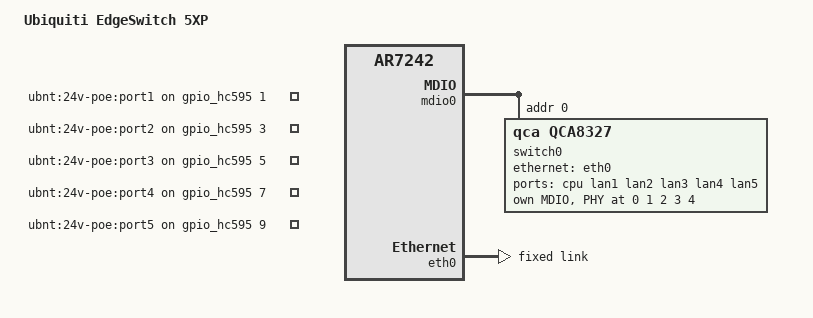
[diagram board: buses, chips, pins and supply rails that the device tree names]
// SPDX-License-Identifier: GPL-2.0-or-later OR MIT

#include "ar7242_ubnt_sw.dtsi"

/ {
	compatible = "ubnt,edgeswitch-5xp", "qca,ar7242";
	model = "Ubiquiti EdgeSwitch 5XP";

	gpio-export {
		compatible = "gpio-export";

		poe_24v_port1 {
			gpio-export,name = "ubnt:24v-poe:port1";
			gpio-export,output = <0>;
			gpios = <&gpio_hc595 1 GPIO_ACTIVE_HIGH>;
		};

		poe_24v_port2 {
			gpio-export,name = "ubnt:24v-poe:port2";
			gpio-export,output = <0>;
			gpios = <&gpio_hc595 3 GPIO_ACTIVE_HIGH>;
		};

		poe_24v_port3 {
			gpio-export,name = "ubnt:24v-poe:port3";
			gpio-export,output = <0>;
			gpios = <&gpio_hc595 5 GPIO_ACTIVE_HIGH>;
		};

		poe_24v_port4 {
			gpio-export,name = "ubnt:24v-poe:port4";
			gpio-export,output = <0>;
			gpios = <&gpio_hc595 7 GPIO_ACTIVE_HIGH>;
		};

		poe_24v_port5 {
			gpio-export,name = "ubnt:24v-poe:port5";
			gpio-export,output = <0>;
			gpios = <&gpio_hc595 9 GPIO_ACTIVE_HIGH>;
		};
	};
};

&mdio0 {
	status = "okay";

	switch0@10 {
		compatible = "qca,qca8327";
		#address-cells = <1>;
		#size-cells = <0>;

		reg = <0>;

		ports {
			#address-cells = <1>;
			#size-cells = <0>;

			port@0 {
				reg = <0>;
				label = "cpu";
				ethernet = <&eth0>;
				phy-mode = "rgmii-rxid";
				rx-internal-delay-ps = <1000>;

				fixed-link {
					speed = <1000>;
					full-duplex;
				};
			};

			port@1 {
				reg = <1>;
				label = "lan1";
				phy-mode = "internal";
				phy-handle = <&phy_port1>;
			};

			port@2 {
				reg = <2>;
				label = "lan2";
				phy-mode = "internal";
				phy-handle = <&phy_port2>;
			};

			port@3 {
				reg = <3>;
				label = "lan3";
				phy-mode = "internal";
				phy-handle = <&phy_port3>;
			};

			port@4 {
				reg = <4>;
				label = "lan4";
				phy-mode = "internal";
				phy-handle = <&phy_port4>;
			};

			port@5 {
				reg = <5>;
				label = "lan5";
				phy-mode = "internal";
				phy-handle = <&phy_port5>;
			};
		};

		mdio {
			#address-cells = <1>;
			#size-cells = <0>;

			phy_port1: phy@0 {
				reg = <0>;
			};

			phy_port2: phy@1 {
				reg = <1>;
			};

			phy_port3: phy@2 {
				reg = <2>;
			};

			phy_port4: phy@3 {
				reg = <3>;
			};

			phy_port5: phy@4 {
				reg = <4>;
			};
		};
	};
};

&eth0 {
	status = "okay";

	nvmem-cells = <&macaddr_art_0>;
	nvmem-cell-names = "mac-address";

	fixed-link {
		speed = <1000>;
		full-duplex;
	};
};

&art {
	compatible = "nvmem-cells";
	#address-cells = <1>;
	#size-cells = <1>;

	macaddr_art_0: macaddr@0 {
		reg = <0x0 0x6>;
	};
};
